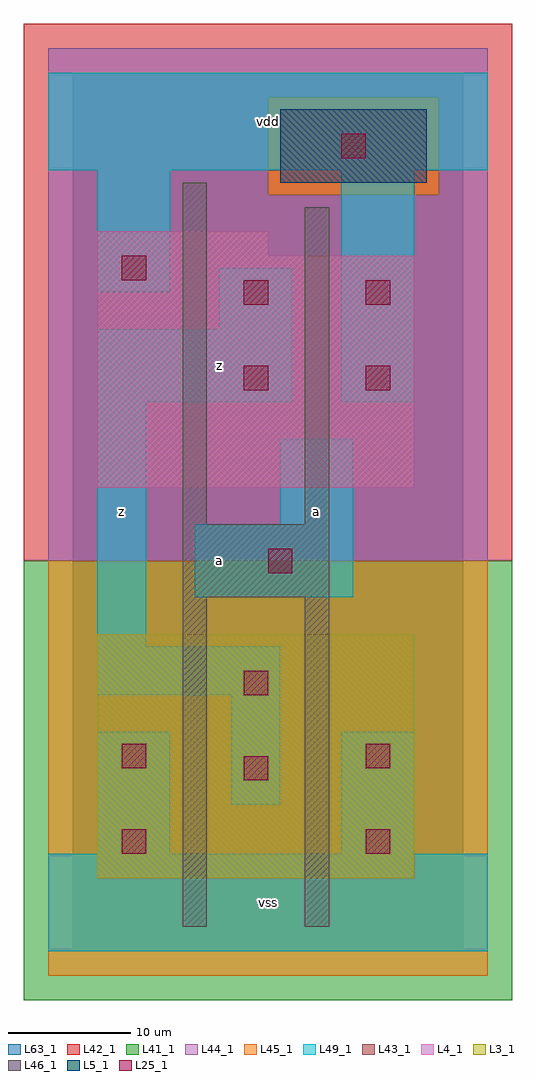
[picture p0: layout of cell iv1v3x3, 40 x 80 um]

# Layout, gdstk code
import gdstk
lib = gdstk.Library(unit=1e-6, precision=1e-09)
def R(c, l, rs):  # rectangles x0, y0, x1, y1
    for r in rs: c.add(gdstk.rectangle(r[:2], r[2:], *l))
L3_1 = (3, 1)
L4_1 = (4, 1)
L5_1 = (5, 1)
L25_1 = (25, 1)
L41_1 = (41, 1)
L42_1 = (42, 1)
L43_1 = (43, 1)
L44_1 = (44, 1)
L45_1 = (45, 1)
L46_1 = (46, 1)
L49_1 = (49, 1)
L63_1 = (63, 1)

iv1v3x3 = lib.new_cell('iv1v3x3')
R(iv1v3x3, L3_1, [(2,6,28,26)])
R(iv1v3x3, L4_1, [(2,38,28,57), (2,57,16,59)])
R(iv1v3x3, L5_1, [(17,63,29,69)])
R(iv1v3x3, L25_1, [(4,8,6,10), (24,8,26,10), (14,14,16,16), (4,15,6,17), (24,15,26,17), (14,21,16,23), (16,31,18,33), (14,46,16,48), (24,46,26,48), (14,53,16,55), (24,53,26,55), (4,55,6,57), (22,65,24,67)])
R(iv1v3x3, L41_1, [(-4,-4,36,32)])
R(iv1v3x3, L42_1, [(-4,32,36,76)])
R(iv1v3x3, L43_1, [(2,6,28,26), (2,38,28,57), (2,57,16,59), (17,63,29,69)])
R(iv1v3x3, L44_1, [(-2,32,34,62), (-2,62,16,70), (30,62,34,70), (-2,70,34,74)])
R(iv1v3x3, L45_1, [(-2,-2,34,32), (16,62,30,70)])
R(iv1v3x3, L46_1, [(9,2,11,29), (19,2,21,29), (9,29,21,35), (9,35,11,63), (19,35,21,61)])
R(iv1v3x3, L49_1, [(-2,0,34,8), (2,8,8,18), (22,8,28,18), (13,12,17,21), (2,21,17,25), (2,25,6,45), (10,29,23,35), (17,35,23,42), (2,45,18,51), (22,45,28,64), (12,51,18,56), (2,54,8,64), (-2,64,34,72)])
R(iv1v3x3, L63_1, [(0,0,32,72)])
iv1v3x3.add(gdstk.Label('z', (4,36), layer=49, texttype=1))
iv1v3x3.add(gdstk.Label('a', (12,32), layer=49, texttype=1))
iv1v3x3.add(gdstk.Label('z', (12,48), layer=49, texttype=1))
iv1v3x3.add(gdstk.Label('vss', (16,4), layer=49, texttype=1))
iv1v3x3.add(gdstk.Label('a', (20,36), layer=49, texttype=1))
iv1v3x3.add(gdstk.Label('vdd', (16,68), layer=49, texttype=1))

lib.write_gds('iv1v3x3.gds')
